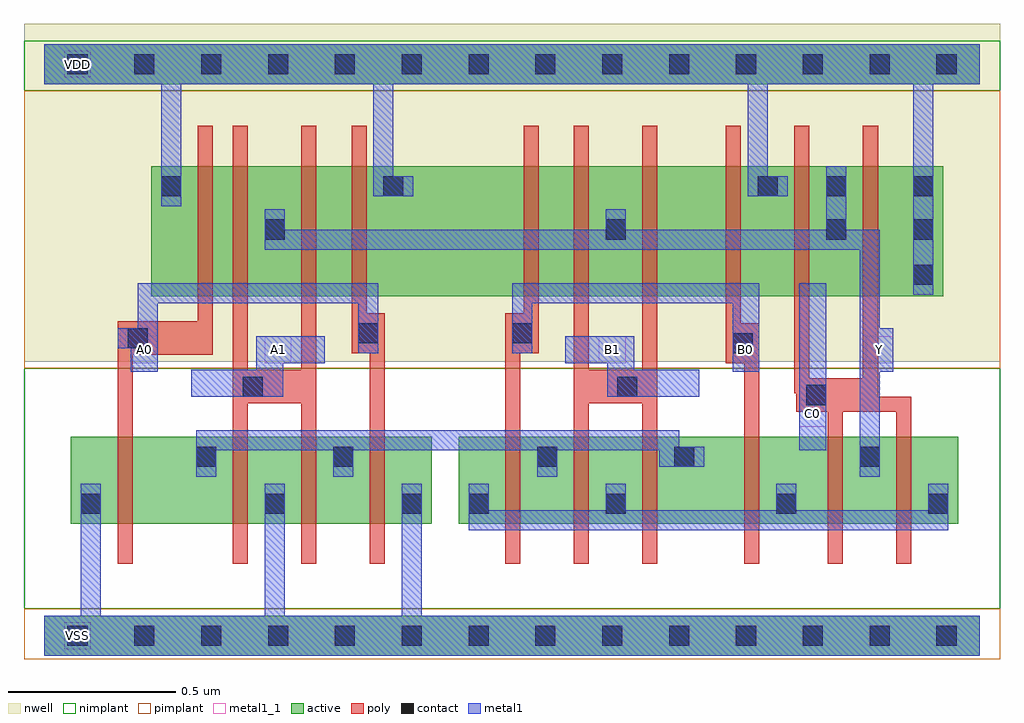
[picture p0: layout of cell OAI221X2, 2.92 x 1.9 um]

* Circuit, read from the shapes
.subckt OAI221X2 A0 A1 B0 B1 C0 VDD VSS Y
M1 n1 A0 VSS VSS nfet w=0.26u l=0.045u m=2
M2 VSS A1 n1 VSS nfet w=0.26u l=0.045u m=2
M3 n1 B0 n2 VSS nfet w=0.26u l=0.045u m=2
M4 n2 B1 n1 VSS nfet w=0.26u l=0.045u m=2
M5 Y C0 n2 VSS nfet w=0.26u l=0.045u m=2
M6 n3 A0 VDD VDD pfet w=0.39u l=0.045u
M7 Y A1 n3 VDD pfet w=0.39u l=0.045u
M8 n4 A1 Y VDD pfet w=0.39u l=0.045u
M9 VDD A0 n4 VDD pfet w=0.39u l=0.045u
M10 n5 B0 VDD VDD pfet w=0.39u l=0.045u
M11 Y B1 n5 VDD pfet w=0.39u l=0.045u
M12 n6 B1 Y VDD pfet w=0.39u l=0.045u
M13 VDD B0 n6 VDD pfet w=0.39u l=0.045u
M14 Y C0 VDD VDD pfet w=0.39u l=0.045u m=2
.ends

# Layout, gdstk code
import gdstk
lib = gdstk.Library(unit=1e-6, precision=5e-10)
def R(c, l, rs):  # rectangles x0, y0, x1, y1
    for r in rs: c.add(gdstk.rectangle(r[:2], r[2:], *l))
def A(c, l, x, y, w, h, nx, ny, dx, dy):  # array of equal rectangles
    R(c, l, [(x+i*dx, y+j*dy, x+i*dx+w, y+j*dy+h) for i in range(nx) for j in range(ny)])
def P(c, l, *ps):  # polygons
    for p in ps: c.add(gdstk.Polygon(p, *l))
active = (1, 0)
nwell = (2, 0)
poly = (3, 0)
nimplant = (4, 0)
pimplant = (5, 0)
contact = (6, 0)
metal1 = (7, 0)
metal1_1 = (7, 1)

oai221x2 = lib.new_cell('OAI221X2')
R(oai221x2, active, [(0,-0.06,2.8,0.06), (0.08,0.335,1.16,0.595), (1.24,0.335,2.735,0.595), (0.32,1.015,2.69,1.405), (0,1.65,2.8,1.77)])
R(oai221x2, nwell, [(-0.06,0.82,2.86,1.83)])
P(oai221x2, poly, [(0.46,1.525),(0.505,1.525),(0.505,0.84),(0.265,0.84),(0.265,0.215),(0.22,0.215),(0.22,0.94),(0.46,0.94)],
  [(0.565,1.525),(0.61,1.525),(0.61,0.795),(0.77,0.795),(0.77,1.525),(0.815,1.525),(0.815,0.215),(0.77,0.215),(0.77,0.695),(0.61,0.695),(0.61,0.215),(0.565,0.215)],
  [(0.92,1.525),(0.965,1.525),(0.965,0.965),(1.02,0.965),(1.02,0.215),(0.975,0.215),(0.975,0.845),(0.92,0.845)],
  [(1.435,1.525),(1.48,1.525),(1.48,0.845),(1.425,0.845),(1.425,0.215),(1.38,0.215),(1.38,0.965),(1.435,0.965)],
  [(1.585,1.525),(1.63,1.525),(1.63,0.795),(1.79,0.795),(1.79,1.525),(1.835,1.525),(1.835,0.215),(1.79,0.215),(1.79,0.695),(1.63,0.695),(1.63,0.215),(1.585,0.215)],
  [(2.04,1.525),(2.085,1.525),(2.085,0.935),(2.14,0.935),(2.14,0.215),(2.095,0.215),(2.095,0.815),(2.04,0.815)],
  [(2.245,1.525),(2.29,1.525),(2.29,0.77),(2.45,0.77),(2.45,1.525),(2.495,1.525),(2.495,0.715),(2.595,0.715),(2.595,0.215),(2.55,0.215),(2.55,0.67),(2.39,0.67),(2.39,0.215),(2.345,0.215),(2.345,0.67),(2.25,0.67),(2.25,0.725),(2.245,0.725)])
R(oai221x2, nimplant, [(-0.06,0.08,2.86,0.8), (-0.06,1.63,2.86,1.78)])
R(oai221x2, pimplant, [(-0.06,-0.07,2.86,0.08), (-0.06,0.8,2.86,1.63)])
A(oai221x2, contact, 0.07, -0.03, 0.06, 0.06, 14, 2, 0.2, 1.71)
R(oai221x2, contact, [(0.11,0.365,0.17,0.425), (0.66,0.365,0.72,0.425), (1.07,0.365,1.13,0.425), (1.27,0.365,1.33,0.425), (1.68,0.365,1.74,0.425), (2.19,0.365,2.25,0.425), (2.645,0.365,2.705,0.425), (0.455,0.505,0.515,0.565), (0.865,0.505,0.925,0.565), (1.475,0.505,1.535,0.565), (1.885,0.505,1.945,0.565), (2.44,0.505,2.5,0.565), (2.28,0.69,2.34,0.75), (0.595,0.715,0.655,0.775), (1.715,0.715,1.775,0.775), (2.06,0.845,2.12,0.905), (0.25,0.86,0.31,0.92), (0.94,0.875,1,0.935), (1.4,0.875,1.46,0.935), (2.6,1.05,2.66,1.11), (0.66,1.185,0.72,1.245), (1.68,1.185,1.74,1.245), (2.34,1.185,2.4,1.245), (2.6,1.185,2.66,1.245), (0.35,1.315,0.41,1.375), (1.015,1.315,1.075,1.375), (2.135,1.315,2.195,1.375), (2.34,1.315,2.4,1.375), (2.6,1.315,2.66,1.375)])
R(oai221x2, metal1, [(2.26,0.555,2.34,1.055)])
P(oai221x2, metal1, [(0,1.77),(2.8,1.77),(2.8,1.65),(2.66,1.65),(2.66,1.02),(2.6,1.02),(2.6,1.65),(2.165,1.65),(2.165,1.375),(2.225,1.375),(2.225,1.315),(2.105,1.315),(2.105,1.65),(1.045,1.65),(1.045,1.375),(1.105,1.375),(1.105,1.315),(0.985,1.315),(0.985,1.65),(0.41,1.65),(0.41,1.285),(0.35,1.285),(0.35,1.65),(0,1.65)],
  [(0.66,1.275),(0.72,1.275),(0.72,1.215),(1.68,1.215),(1.68,1.275),(1.74,1.275),(1.74,1.215),(2.34,1.215),(2.34,1.405),(2.4,1.405),(2.4,1.215),(2.5,1.215),(2.5,0.92),(2.54,0.92),(2.54,0.79),(2.5,0.79),(2.5,0.475),(2.44,0.475),(2.44,1.155),(0.66,1.155)],
  [(0.28,1.055),(1,1.055),(1,0.845),(0.94,0.845),(0.94,0.995),(0.34,0.995),(0.34,0.79),(0.26,0.79),(0.26,0.86),(0.22,0.86),(0.22,0.92),(0.28,0.92)],
  [(0.635,0.895),(0.84,0.895),(0.84,0.815),(0.715,0.815),(0.715,0.715),(0.44,0.715),(0.44,0.795),(0.635,0.795)],
  [(1.4,1.055),(2.14,1.055),(2.14,0.79),(2.06,0.79),(2.06,0.995),(1.46,0.995),(1.46,0.845),(1.4,0.845)],
  [(1.56,0.895),(1.765,0.895),(1.765,0.795),(1.96,0.795),(1.96,0.715),(1.685,0.715),(1.685,0.815),(1.56,0.815)],
  [(0.455,0.615),(1.9,0.615),(1.9,0.565),(1.975,0.565),(1.975,0.505),(1.84,0.505),(1.84,0.555),(1.535,0.555),(1.535,0.475),(1.475,0.475),(1.475,0.555),(0.925,0.555),(0.925,0.475),(0.865,0.475),(0.865,0.555),(0.515,0.555),(0.515,0.475),(0.455,0.475)],
  [(0.11,0.455),(0.17,0.455),(0.17,0.06),(0.66,0.06),(0.66,0.455),(0.72,0.455),(0.72,0.06),(1.07,0.06),(1.07,0.455),(1.13,0.455),(1.13,0.06),(2.8,0.06),(2.8,-0.06),(0,-0.06),(0,0.06),(0.11,0.06)],
  [(1.27,0.455),(1.33,0.455),(1.33,0.375),(1.68,0.375),(1.68,0.455),(1.74,0.455),(1.74,0.375),(2.19,0.375),(2.19,0.455),(2.25,0.455),(2.25,0.375),(2.645,0.375),(2.645,0.455),(2.705,0.455),(2.705,0.315),(1.27,0.315)])
A(oai221x2, metal1_1, 1.66, 0.815, 0.08, 0.08, 3, 1, 0.4, 0)
R(oai221x2, metal1_1, [(0.06,-0.04,0.14,0.04), (2.26,0.625,2.34,0.705), (0.26,0.815,0.34,0.895), (0.66,0.815,0.74,0.895), (0.06,1.67,0.14,1.75)])
oai221x2.add(gdstk.Label('Y', (2.5,0.855), layer=7, texttype=1))
oai221x2.add(gdstk.Label('A0', (0.3,0.855), layer=7, texttype=1))
oai221x2.add(gdstk.Label('B0', (2.1,0.855), layer=7, texttype=1))
oai221x2.add(gdstk.Label('A1', (0.7,0.855), layer=7, texttype=1))
oai221x2.add(gdstk.Label('B1', (1.7,0.855), layer=7, texttype=1))
oai221x2.add(gdstk.Label('C0', (2.3,0.665), layer=7, texttype=1))
oai221x2.add(gdstk.Label('VDD', (0.1,1.71), layer=7, texttype=1))
oai221x2.add(gdstk.Label('VSS', (0.1,0), layer=7, texttype=1))
oai221x2.add(gdstk.Label('OAI221X2', (0,0), layer=63, texttype=0))

lib.write_gds('OAI221X2.gds')
